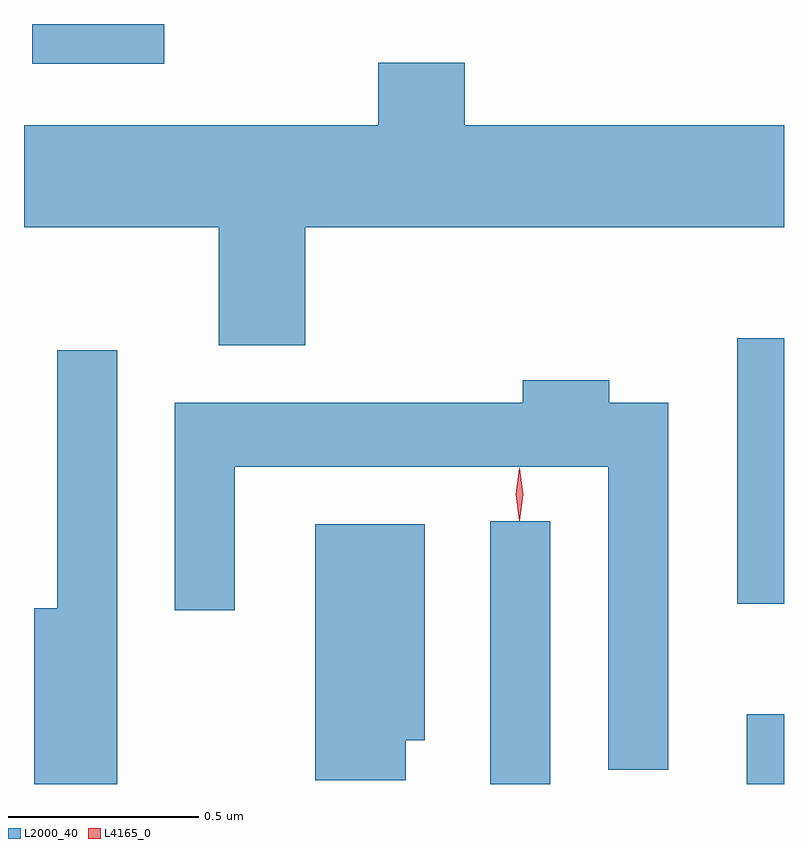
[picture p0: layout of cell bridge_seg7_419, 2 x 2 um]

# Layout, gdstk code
import gdstk
lib = gdstk.Library(unit=1e-6, precision=1e-09)
def R(c, l, rs):  # rectangles x0, y0, x1, y1
    for r in rs: c.add(gdstk.rectangle(r[:2], r[2:], *l))
def P(c, l, *ps):  # polygons
    for p in ps: c.add(gdstk.Polygon(p, *l))
L2000_40 = (2000, 40)
L4165_0 = (4165, 0)

bridge_seg7_419 = lib.new_cell('bridge_seg7_419')
R(bridge_seg7_419, L2000_40, [(1120.036,1719.511,1120.194,1720.203), (1120.711,1719.511,1120.809,1719.694), (1120.686,1719.986,1120.809,1720.684), (1118.831,1721.406,1119.178,1721.511)])
P(bridge_seg7_419, L2000_40, [(1119.549,1720.976),(1120.809,1720.976),(1120.809,1721.244),(1119.969,1721.244),(1119.969,1721.409),(1119.741,1721.409),(1119.741,1721.244),(1118.809,1721.244),(1118.809,1720.976),(1119.321,1720.976),(1119.321,1720.666),(1119.549,1720.666)],
  [(1119.054,1720.653),(1118.896,1720.653),(1118.896,1719.974),(1118.836,1719.974),(1118.836,1719.511),(1119.054,1719.511)],
  [(1120.504,1720.514),(1120.349,1720.514),(1120.349,1720.574),(1120.121,1720.574),(1120.121,1720.514),(1119.206,1720.514),(1119.206,1719.968),(1119.364,1719.968),(1119.364,1720.346),(1120.346,1720.346),(1120.346,1719.548),(1120.504,1719.548)],
  [(1119.814,1719.626),(1119.864,1719.626),(1119.864,1720.194),(1119.576,1720.194),(1119.576,1719.521),(1119.814,1719.521)])
P(bridge_seg7_419, L4165_0, [(1120.113,1720.203),(1120.112,1720.204),(1120.103,1720.273),(1120.112,1720.342),(1120.113,1720.343),(1120.113,1720.342),(1120.123,1720.273),(1120.113,1720.204)])

lib.write_gds('bridge_seg7_419.gds')
